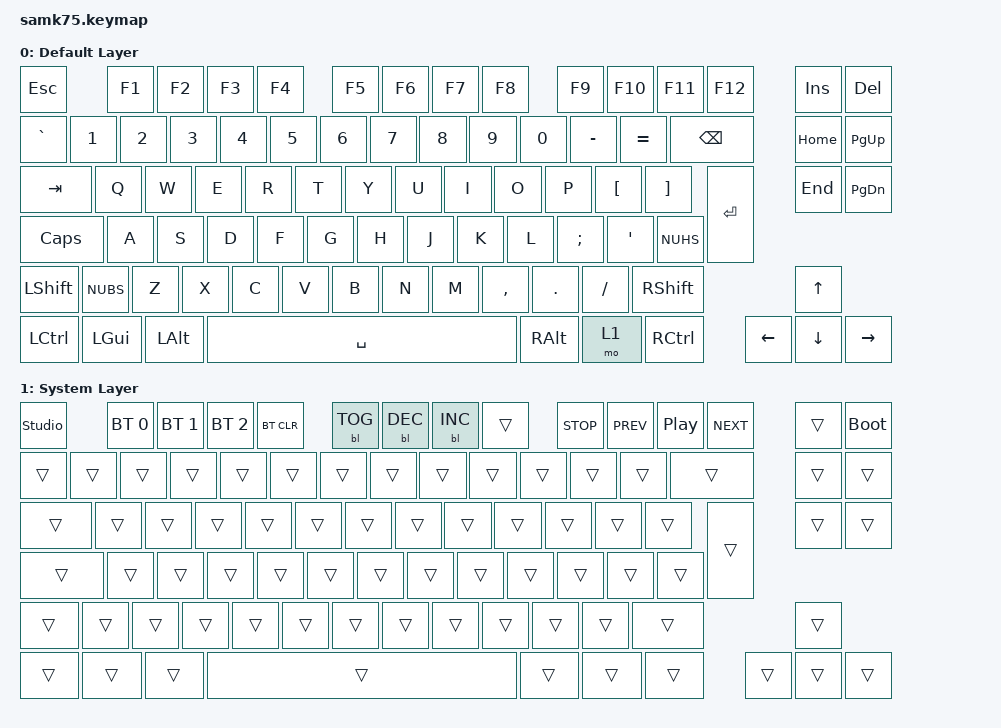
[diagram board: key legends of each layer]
/*
 * Copyright (c) 2020 The ZMK Contributors
 *
 * SPDX-License-Identifier: MIT
 */

#include <behaviors.dtsi>
#include <dt-bindings/zmk/keys.h>
#include <dt-bindings/zmk/bt.h>
#include <dt-bindings/zmk/backlight.h>

//&kp ESC &kp F1 &kp F2 &kp F3 &kp F4 &kp F5 &kp F6 &kp F7 &kp F8 &kp F9 &kp F10 &kp F11 &kp F12 &kp INSERT &kp DELETE
//&kp GRAVE &kp N1 &kp N2 &kp N3 &kp N4 &kp N5 &kp N6 &kp N7 &kp N8 &kp N9 &kp N0 &kp MINUS &kp EQUAL &kp BSPC &kp HOME &kp PAGE_UP
//&kp TAB &kp Q &kp W &kp E &kp R &kp T &kp Y &kp U &kp I &kp O &kp P &kp LBKT &kp RBKT &kp END &kp PAGE_DOWN
//&kp CLCK &kp A &kp S &kp D &kp F &kp G &kp H &kp J &kp K &kp L &kp SEMI &kp SQT &kp NUHS &kp RET
//&kp LSHFT &kp NUBS &kp Z &kp X &kp C &kp V &kp B &kp N &kp M &kp COMMA &kp DOT &kp FSLH &kp RSHFT &kp UP_ARROW
//&kp LCTRL &kp LGUI &kp LALT       &kp SPACE       &kp RALT &mo 1 &kp RCTRL &kp LEFT_ARROW &kp DOWN_ARROW &kp RIGHT_ARROW


/ {
    keymap0: keymap {
        compatible = "zmk,keymap";

        default_layer {
            display-name = "Default Layer";
            bindings = <
&kp ESC &kp F1 &kp F2 &kp F3 &kp F4 &kp F5 &kp F6 &kp F7 &kp F8 &kp F9 &kp F10 &kp F11 &kp F12 &kp INSERT &kp DELETE
&kp GRAVE &kp N1 &kp N2 &kp N3 &kp N4 &kp N5 &kp N6 &kp N7 &kp N8 &kp N9 &kp N0 &kp MINUS &kp EQUAL &kp BSPC &kp HOME &kp PAGE_UP
&kp TAB &kp Q &kp W &kp E &kp R &kp T &kp Y &kp U &kp I &kp O &kp P &kp LBKT &kp RBKT &kp END &kp PAGE_DOWN
&kp CLCK &kp A &kp S &kp D &kp F &kp G &kp H &kp J &kp K &kp L &kp SEMI &kp SQT &kp NUHS &kp RET
&kp LSHFT &kp NUBS &kp Z &kp X &kp C &kp V &kp B &kp N &kp M &kp COMMA &kp DOT &kp FSLH &kp RSHFT &kp UP_ARROW
&kp LCTRL &kp LGUI &kp LALT       &kp SPACE       &kp RALT &mo 1 &kp RCTRL &kp LEFT_ARROW &kp DOWN_ARROW &kp RIGHT_ARROW
            >;
        };

        fn_layer {
            display-name = "System Layer";
            bindings = <
&studio_unlock &bt BT_SEL 0 &bt BT_SEL 1 &bt BT_SEL 2 &bt BT_CLR &bl BL_TOG &bl BL_DEC &bl BL_INC &trans &kp C_STOP &kp C_PREV &kp C_PLAY_PAUSE &kp C_NEXT &trans &bootloader
&trans &trans &trans &trans &trans &trans &trans &trans &trans &trans &trans &trans &trans &trans &trans &trans
&trans &trans &trans &trans &trans &trans &trans &trans &trans &trans &trans &trans &trans &trans &trans
&trans &trans &trans &trans &trans &trans &trans &trans &trans &trans &trans &trans &trans &trans
&trans &trans &trans &trans &trans &trans &trans &trans &trans &trans &trans &trans &trans &trans
&trans &trans &trans &trans &trans &trans &trans &trans &trans &trans
            >;
        };
    };
};
